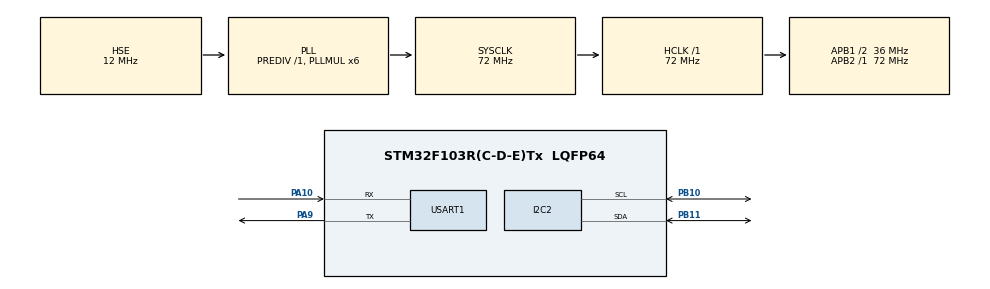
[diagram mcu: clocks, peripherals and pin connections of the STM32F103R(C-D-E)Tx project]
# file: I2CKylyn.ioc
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Mcu.Family=STM32F1
Mcu.Name=STM32F103R(C-D-E)Tx
Mcu.Package=LQFP64
NVIC.PriorityGroup=NVIC_PRIORITYGROUP_4
PA10.Mode=Asynchronous
PA10.Signal=USART1_RX
PA13.Mode=Serial_Wire
PA13.Signal=SYS_JTMS-SWDIO
PA14.Mode=Serial_Wire
PA14.Signal=SYS_JTCK-SWCLK
PA9.Mode=Asynchronous
PA9.Signal=USART1_TX
PB10.Mode=I2C
PB10.Signal=I2C2_SCL
PB11.Mode=I2C
PB11.Signal=I2C2_SDA
PD0-OSC_IN.Mode=HSE-External-Oscillator
PD0-OSC_IN.Signal=RCC_OSC_IN
PD1-OSC_OUT.Mode=HSE-External-Oscillator
PD1-OSC_OUT.Signal=RCC_OSC_OUT
ProjectManager.HeapSize=0x200
ProjectManager.StackSize=0x400
ProjectManager.TargetToolchain=SW4STM32
RCC.AHBFreq_Value=72000000
RCC.APB1CLKDivider=RCC_HCLK_DIV2
RCC.APB1Freq_Value=36000000
RCC.APB1TimFreq_Value=72000000
RCC.APB2Freq_Value=72000000
RCC.APB2TimFreq_Value=72000000
RCC.HCLKFreq_Value=72000000
RCC.HSE_VALUE=12000000
RCC.PLLMUL=RCC_PLL_MUL6
RCC.PLLSourceVirtual=RCC_PLLSOURCE_HSE
RCC.SYSCLKFreq_VALUE=72000000
RCC.SYSCLKSource=RCC_SYSCLKSOURCE_PLLCLK
RCC.USBFreq_Value=72000000
USART1.VirtualMode=VM_ASYNC
board=I2CKylyn

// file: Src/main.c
/**
  ******************************************************************************
  * @file           : main.c
  * @brief          : Main program body
  ******************************************************************************
  ** This notice applies to any and all portions of this file
  * that are not between comment pairs USER CODE BEGIN and
  * USER CODE END. Other portions of this file, whether
  * inserted by the user or by software development tools
  * are owned by their respective copyright owners.
  *
  * COPYRIGHT(c) 2018 STMicroelectronics
  *
  * Redistribution and use in source and binary forms, with or without modification,
  * are permitted provided that the following conditions are met:
  *   1. Redistributions of source code must retain the above copyright notice,
  *      this list of conditions and the following disclaimer.
  *   2. Redistributions in binary form must reproduce the above copyright notice,
  *      this list of conditions and the following disclaimer in the documentation
  *      and/or other materials provided with the distribution.
  *   3. Neither the name of STMicroelectronics nor the names of its contributors
  *      may be used to endorse or promote products derived from this software
  *      without specific prior written permission.
  *
  * THIS SOFTWARE IS PROVIDED BY THE COPYRIGHT HOLDERS AND CONTRIBUTORS "AS IS"
  * AND ANY EXPRESS OR IMPLIED WARRANTIES, INCLUDING, BUT NOT LIMITED TO, THE
  * IMPLIED WARRANTIES OF MERCHANTABILITY AND FITNESS FOR A PARTICULAR PURPOSE ARE
  * DISCLAIMED. IN NO EVENT SHALL THE COPYRIGHT HOLDER OR CONTRIBUTORS BE LIABLE
  * FOR ANY DIRECT, INDIRECT, INCIDENTAL, SPECIAL, EXEMPLARY, OR CONSEQUENTIAL
  * DAMAGES (INCLUDING, BUT NOT LIMITED TO, PROCUREMENT OF SUBSTITUTE GOODS OR
  * SERVICES; LOSS OF USE, DATA, OR PROFITS; OR BUSINESS INTERRUPTION) HOWEVER
  * CAUSED AND ON ANY THEORY OF LIABILITY, WHETHER IN CONTRACT, STRICT LIABILITY,
  * OR TORT (INCLUDING NEGLIGENCE OR OTHERWISE) ARISING IN ANY WAY OUT OF THE USE
  * OF THIS SOFTWARE, EVEN IF ADVISED OF THE POSSIBILITY OF SUCH DAMAGE.
  *
  ******************************************************************************
  */
#include "main.h"
#include "stm32f1xx_hal.h"
#include "i2c.h"
#include "usart.h"
#include "gpio.h"

/* USER CODE BEGIN PV */
/* Private variables ---------------------------------------------------------*/
#define ADDR_AT24C02_Write 0xA0
#define ADDR_AT24C02_Read 0xA1
uint8_t I2C_Buffer_Write[256];
uint8_t I2C_Buffer_Read[256];
uint16_t i;
/* USER CODE END PV */

void SystemClock_Config(void);

/* USER CODE BEGIN PFP */
/* Private function prototypes -----------------------------------------------*/
#ifdef __GNUC__
#define PUTCHAR_PROTOTYPE int __io_putchar(int ch)
#else
#define PUTCHAR_PROTOTYPE int fputc(int ch, FILE *f)
#endif
/* USER CODE END PFP */

/* USER CODE BEGIN 0 */
PUTCHAR_PROTOTYPE
{
    HAL_UART_Transmit(&huart1 , (uint8_t *)&ch, 1, 0xFFFF);
    return ch;
}
/* USER CODE END 0 */

int main(void)
{

  /* MCU Configuration----------------------------------------------------------*/

  /* Reset of all peripherals, Initializes the Flash interface and the Systick. */
  HAL_Init();

  /* Configure the system clock */
  SystemClock_Config();

  /* Initialize all configured peripherals */
  MX_GPIO_Init();
  MX_USART1_UART_Init();
  MX_I2C2_Init();

  /* Infinite loop */
  while (1)
  {

  /* USER CODE BEGIN 3 */
	  /* USER CODE BEGIN 2 */

	  printf("\r\n \r\n*********STM32CubeMX I2C AT24C02 Example*********\r\n");
	  printf("\r\n I2C Write Buffer:\r\n");
	  for(i=0; i<256; i++)
	  {
		  I2C_Buffer_Write[i]=i;    /* WriteBuffer Initialization */
		  printf("%02X ", I2C_Buffer_Write[i]);

	  }

	  /* write data to AT24C02 */
	  for(i=0; i<256; i=i+8)
//	  for(i=0; i<256; i++)
	  {
		  /*
		   *  HAL_I2C_Mem_Write(I2C_HandleTypeDef *hi2c, uint16_t DevAddress, uint16_t MemAddress, uint16_t MemAddSize, uint8_t *pData, uint16_t Size, uint32_t Timeout)
		   * I2C_HandleTypeDef *hi2c IIC的句柄

    		uint16_t DevAddress IIC设备的外部地址

    		uint16_t MemAddress IIC设备的内部地址

    		uint16_t MemAddSize 读写内部地址的方式，一般使用I2C_MEMADD_SIZE_8BIT方式,
    		注意只有两种选择：I2C_MEMADD_SIZE_8BIT 或者 I2C_MEMADD_SIZE_16BIT

    		uint8_t *pData 写入的数组或者指针

    		uint16_t Size 写入的字节数！
		   */
			/*以下三个语句都可以正确写入
			 *I2C_Buffer_Write数组名实际上就是指针，指针+i其实就是下一组8个数组元素起始地址
			 */
//		  if (HAL_I2C_Mem_Write(&hi2c2, ADDR_AT24C02_Write, i, I2C_MEMADD_SIZE_8BIT,I2C_Buffer_Write+i,8, 10000) == HAL_OK)
//		  if (HAL_I2C_Mem_Write(&hi2c2, ADDR_AT24C02_Write, i, I2C_MEMADD_SIZE_8BIT,(uint8_t*)(&(I2C_Buffer_Write[i])),8, 10000) == HAL_OK)
		  if (HAL_I2C_Mem_Write(&hi2c2, ADDR_AT24C02_Write, i, I2C_MEMADD_SIZE_8BIT,&(I2C_Buffer_Write[i]),8, 1000) == HAL_OK)
		  {
			  printf("\r\n Byte %02d to Byte %02d Write OK",i,i+7);
			  HAL_Delay(5);//不能少
		  }

		  else
			  printf("\r\n Byte %02d to Byte %02d Write Failed",i,i+7);
	  }

	  /* read data from EEPROM */
	  printf("\r\n Reading from AT24C02:\r\n");
	  HAL_I2C_Mem_Read(&hi2c2, ADDR_AT24C02_Read, 0, I2C_MEMADD_SIZE_8BIT,I2C_Buffer_Read,256, 1000);

	  for(i=0; i<256; i++)
	  {
		  printf("0x%02X  ",I2C_Buffer_Read[i]);
	  }
	  HAL_Delay(2000);
//

	  if(memcmp(I2C_Buffer_Read,I2C_Buffer_Write,256) == 0 ) /* check data */
	      printf("\r\n AT24C02 Read Test OK\r\n");
	  else
	      printf("\r\n AT24C02 Read Test Failed\r\n");

	  /* USER CODE END 2 */
  }
  /* USER CODE END 3 */

}

void SystemClock_Config(void)
{

  RCC_OscInitTypeDef RCC_OscInitStruct;
  RCC_ClkInitTypeDef RCC_ClkInitStruct;

    /**Initializes the CPU, AHB and APB busses clocks
    */
  RCC_OscInitStruct.OscillatorType = RCC_OSCILLATORTYPE_HSE;
  RCC_OscInitStruct.HSEState = RCC_HSE_ON;
  RCC_OscInitStruct.HSEPredivValue = RCC_HSE_PREDIV_DIV1;
  RCC_OscInitStruct.HSIState = RCC_HSI_ON;
  RCC_OscInitStruct.PLL.PLLState = RCC_PLL_ON;
  RCC_OscInitStruct.PLL.PLLSource = RCC_PLLSOURCE_HSE;
  RCC_OscInitStruct.PLL.PLLMUL = RCC_PLL_MUL6;
  if (HAL_RCC_OscConfig(&RCC_OscInitStruct) != HAL_OK)
  {
    _Error_Handler(__FILE__, __LINE__);
  }

    /**Initializes the CPU, AHB and APB busses clocks
    */
  RCC_ClkInitStruct.ClockType = RCC_CLOCKTYPE_HCLK|RCC_CLOCKTYPE_SYSCLK
                              |RCC_CLOCKTYPE_PCLK1|RCC_CLOCKTYPE_PCLK2;
  RCC_ClkInitStruct.SYSCLKSource = RCC_SYSCLKSOURCE_PLLCLK;
  RCC_ClkInitStruct.AHBCLKDivider = RCC_SYSCLK_DIV1;
  RCC_ClkInitStruct.APB1CLKDivider = RCC_HCLK_DIV2;
  RCC_ClkInitStruct.APB2CLKDivider = RCC_HCLK_DIV1;

  if (HAL_RCC_ClockConfig(&RCC_ClkInitStruct, FLASH_LATENCY_2) != HAL_OK)
  {
    _Error_Handler(__FILE__, __LINE__);
  }

    /**Configure the Systick interrupt time
    */
  HAL_SYSTICK_Config(HAL_RCC_GetHCLKFreq()/1000);

    /**Configure the Systick
    */
  HAL_SYSTICK_CLKSourceConfig(SYSTICK_CLKSOURCE_HCLK);

  /* SysTick_IRQn interrupt configuration */
  HAL_NVIC_SetPriority(SysTick_IRQn, 0, 0);
}

void _Error_Handler(char *file, int line)
{
  while(1)
  {
  }
}

/************************ (C) COPYRIGHT STMicroelectronics *****END OF FILE****/
